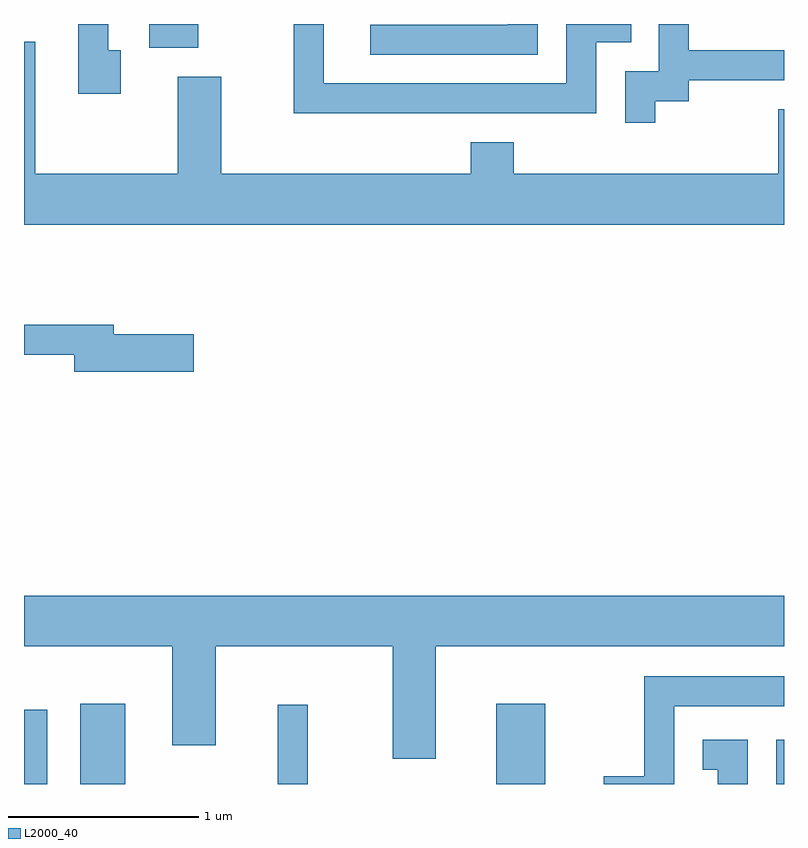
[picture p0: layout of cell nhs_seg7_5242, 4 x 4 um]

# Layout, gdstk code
import gdstk
lib = gdstk.Library(unit=1e-6, precision=1e-09)
def R(c, l, rs):  # rectangles x0, y0, x1, y1
    for r in rs: c.add(gdstk.rectangle(r[:2], r[2:], *l))
def P(c, l, *ps):  # polygons
    for p in ps: c.add(gdstk.Polygon(p, *l))
L2000_40 = (2000, 40)

nhs_seg7_5242 = lib.new_cell('nhs_seg7_5242')
R(nhs_seg7_5242, L2000_40, [(345.611,1720.252,345.734,1720.644), (345.906,1720.252,346.144,1720.674), (346.946,1720.252,347.104,1720.668), (348.096,1720.252,348.354,1720.674), (349.571,1720.252,349.611,1720.484), (346.271,1724.126,346.529,1724.252)])
P(nhs_seg7_5242, L2000_40, [(348.624,1724.156),(348.808,1724.156),(348.808,1724.252),(348.466,1724.252),(348.466,1723.939),(347.189,1723.939),(347.189,1724.252),(347.031,1724.252),(347.031,1723.781),(348.624,1723.781)],
  [(346.119,1724.114),(346.054,1724.114),(346.054,1724.252),(345.896,1724.252),(345.896,1723.886),(346.119,1723.886)],
  [(348.934,1723.846),(349.109,1723.846),(349.109,1723.956),(349.611,1723.956),(349.611,1724.114),(349.109,1724.114),(349.109,1724.252),(348.951,1724.252),(348.951,1724.004),(348.776,1724.004),(348.776,1723.733),(348.934,1723.733)],
  [(348.314,1724.252),(348.156,1724.252),(348.156,1724.249),(347.433,1724.249),(347.433,1724.091),(348.314,1724.091)],
  [(349.611,1723.804),(349.581,1723.804),(349.581,1723.464),(348.189,1723.464),(348.189,1723.629),(347.961,1723.629),(347.961,1723.464),(346.649,1723.464),(346.649,1723.974),(346.421,1723.974),(346.421,1723.464),(345.669,1723.464),(345.669,1724.159),(345.611,1724.159),(345.611,1723.196),(349.611,1723.196)],
  [(346.504,1722.619),(346.084,1722.619),(346.084,1722.669),(345.611,1722.669),(345.611,1722.511),(345.876,1722.511),(345.876,1722.421),(346.504,1722.421)],
  [(347.779,1720.976),(349.611,1720.976),(349.611,1721.244),(345.611,1721.244),(345.611,1720.976),(346.391,1720.976),(346.391,1720.456),(346.619,1720.456),(346.619,1720.976),(347.551,1720.976),(347.551,1720.386),(347.779,1720.386)],
  [(349.034,1720.661),(349.611,1720.661),(349.611,1720.819),(348.876,1720.819),(348.876,1720.294),(348.661,1720.294),(348.661,1720.252),(349.034,1720.252)],
  [(349.419,1720.484),(349.183,1720.484),(349.183,1720.326),(349.261,1720.326),(349.261,1720.252),(349.419,1720.252)])

lib.write_gds('nhs_seg7_5242.gds')
